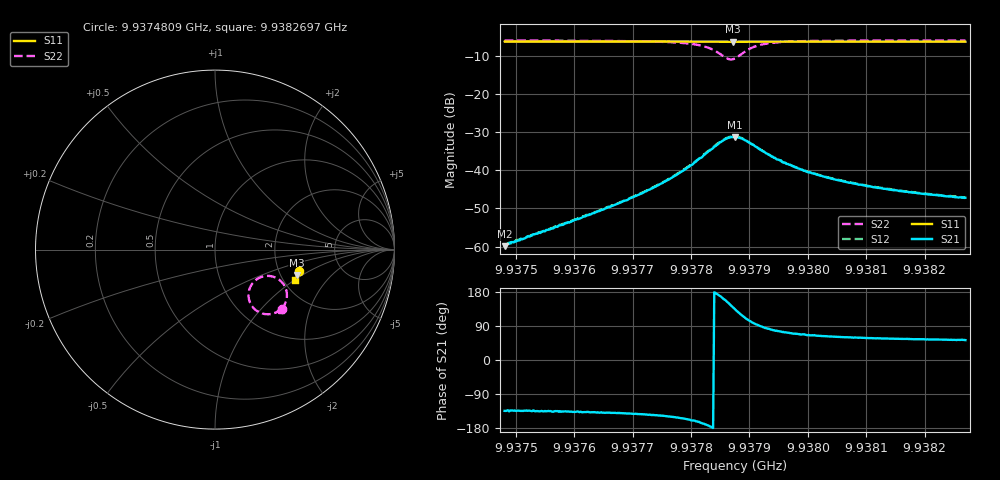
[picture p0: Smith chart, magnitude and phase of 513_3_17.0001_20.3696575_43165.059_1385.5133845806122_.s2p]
#  HZ  S  RI  R  50.00
! Rohde & Schwarz Vector Network Analyzer
! Rohde-Schwarz,ZNB20-2Port,1311601062101988,3.16
! Created: UTC 3/20/2024, 11:15:05 PM
! freq[Hz]  re:S11  im:S11  re:S21  im:S21  re:S12  im:S12  re:S22  im:S22
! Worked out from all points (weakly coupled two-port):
!   401 points, 9.9374809 GHz to 9.9382697 GHz, reference 50 ohm
!   highest |S21| = -31.30 dB at 9.9378753 GHz (marker M1); lowest = -59.9 dB at 9.9374809 GHz (marker M2)
!   lowest |S11| = -6.4 dB at 9.9378713 GHz (marker M3), VSWR 2.83, Z = 122 - j45.5 ohm
!   |S11| at or under -10 dB: nowhere
!   |S22| runs from -11.0 to -6.1 dB; largest |S21 - S12| = 0.0011
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9.93748088e9  0.4675 -0.1203  -0.00071 -0.000728  -0.000729 -0.000746  0.3719 -0.3289
9.93749074e9  0.4672 -0.121  -0.000753 -0.00081  -0.000812 -0.000806  0.3709 -0.3297
9.937613e9  0.4646 -0.1291  -0.00177 -0.00161  -0.00184 -0.00164  0.3562 -0.341
9.93768991e9  0.4627 -0.1344  -0.00315 -0.00254  -0.00328 -0.00257  0.34 -0.3501
9.93774513e9  0.4611 -0.1381  -0.0054 -0.00356  -0.00555 -0.0035  0.3184 -0.3574
9.93779049e9  0.4597 -0.1413  -0.00941 -0.00433  -0.0097 -0.00422  0.2829 -0.36
9.93782598e9  0.4578 -0.1436  -0.0165 -0.00273  -0.0169 -0.0024  0.2287 -0.3383
9.93783979e9  0.4569 -0.1441  -0.0203 0.00048  -0.0206 0.000986  0.2019 -0.3085
9.93785359e9  0.4562 -0.1444  -0.0233 0.00664  -0.0236 0.00738  0.1868 -0.2552
9.93786345e9  0.4558 -0.1444  -0.0233 0.0126  -0.0231 0.0137  0.1972 -0.2069
9.93787134e9  0.4557 -0.1442  -0.0206 0.0175  -0.0206 0.0186  0.2235 -0.1727
9.93787528e9  0.4559 -0.144  -0.019 0.0195  -0.0184 0.0205  0.2411 -0.1602
9.93788514e9  0.4561 -0.1442  -0.0132 0.0226  -0.0126 0.0234  0.2902 -0.1466
9.93789895e9  0.4566 -0.1451  -0.00587 0.0224  -0.00517 0.0227  0.3466 -0.1604
9.93792064e9  0.4572 -0.1468  0.000457 0.0182  0.00105 0.0183  0.3885 -0.2041
9.93796008e9  0.4565 -0.1499  0.00374 0.012  0.00395 0.012  0.4009 -0.2586
9.93799755e9  0.4558 -0.1527  0.00389 0.0088  0.00413 0.00879  0.3964 -0.2851
9.93800741e9  0.4554 -0.1535  0.00378 0.0083  0.00397 0.00829  0.3949 -0.2899
9.93806657e9  0.4541 -0.1576  0.00349 0.00605  0.00365 0.00607  0.386 -0.3092
9.93813953e9  0.452 -0.1624  0.00307 0.00466  0.00326 0.00468  0.3771 -0.3228
9.93818686e9  0.4506 -0.1653  0.00289 0.00411  0.00299 0.00411  0.3723 -0.3292
9.93826969e9  0.4483 -0.1707  0.00266 0.00346  0.00276 0.00345  0.3651 -0.3375
